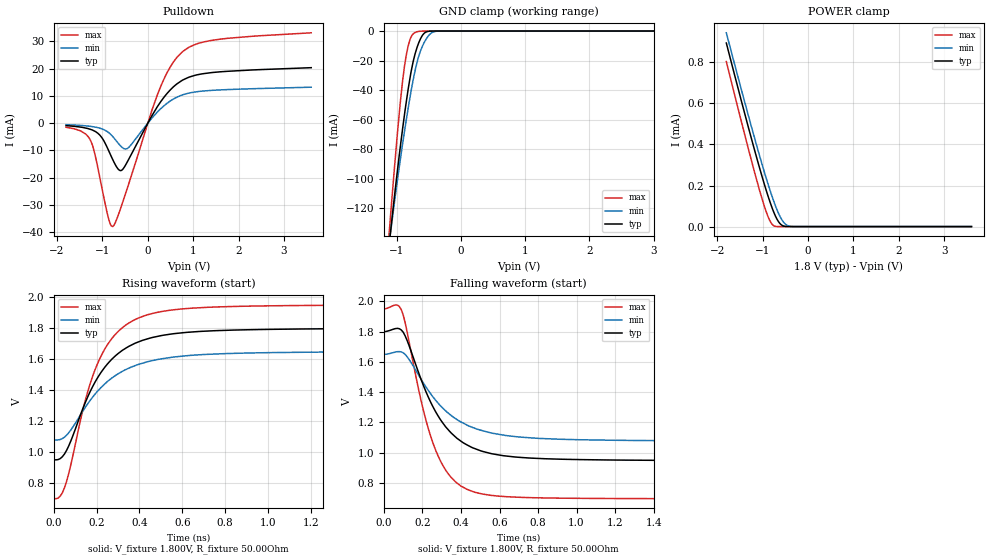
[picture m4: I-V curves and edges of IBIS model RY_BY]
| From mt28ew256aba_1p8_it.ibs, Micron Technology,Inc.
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|   Model RY_BY
[Model]   RY_BY
Model_type   Open_drain
Vmeas = 0.900V
Cref = 30.000pF
Rref = 2.500k
Vref = 1.800V
|   typ   min   max
C_comp   2.743pF   2.243pF   3.423pF
[Voltage Range]   1.800V   1.650V   1.950V
| Junction Temperature (Ambient temp is 35C typ, 85C min, -40C max)
[Temperature Range]   50.0   100.0   -40.0
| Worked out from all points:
|   slope of the pulldown table from 0 to 0.27 V, typ, clamps not added: 35.9 ohm
|   GND clamp passes 1 mA (typ) near -0.56 V on its own axis
|   falling waveform, V_fixture 1.800V, R_fixture 50.00Ohm: 20-80 % time 208ps typ, 250ps min, 157ps max; typ from 1.8 V to 0.947 V
|   rising waveform, V_fixture 1.800V, R_fixture 50.00Ohm: 20-80 % time 202ps typ, 239ps min, 169ps max; typ from 0.947 V to 1.8 V
[Pulldown]
|   Voltage   I(typ)   I(min)   I(max)
-1.8V     -935.2uA   -587.6uA   -1.529mA
-1.265V   -2.293mA   -1.192mA   -6.234mA
-1.163V   -3.023mA   -1.455mA   -11.55mA
-876.6mV  -9.587mA   -3.306mA   -34.22mA
-774mV    -13.32mA   -4.911mA   -37.94mA
-552.6mV  -16.96mA   -9.077mA   -28.99mA
-417.6mV  -13.17mA   -8.873mA   -22.15mA
219.6mV   6.236mA    4.188mA    10.75mA
500.4mV   12.26mA    8.155mA    20.74mA
738mV     15.46mA    10.19mA    25.74mA
1.418V    18.53mA    12mA       30.35mA
3.6V      20.31mA    13.16mA    33.09mA
[GND Clamp]
|   Voltage   I(typ)   I(min)   I(max)
-1.8V     -436.6mA   -404.7mA   -515mA
-1.12V    -144.9mA   -144.5mA   -137.2mA
-1.087V   -131.9mA   -133.1mA   -119.5mA
-946.8mV  -78.93mA   -87.63mA   -48.92mA
-882mV    -57.21mA   -68.49mA   -24.51mA
-806.4mV  -35.04mA   -47.93mA   -7.439mA
-720mV    -16.31mA   -27.84mA   -1.1mA
-666mV    -8.899mA   -18.13mA   -323.5uA
-574.2mV  -1.567mA   -7.866mA   -33.15uA
-487.8mV  -114.7uA   -2.321mA   -4.053uA
-390.6mV  -6.539uA   -208.3uA   -174.7nA
3.6V      0A         0A         0A
[POWER Clamp]
|   Voltage   I(typ)   I(min)   I(max)
-1.8V     893.9uA    943.6uA    803.7uA
-1.211V   399.5uA    457.9uA    292.1uA
-1.039V   263.2uA    322.8uA    154.3uA
-909mV    167.8uA    226.8uA    64.45uA
-806.4mV  100uA      155.9uA    15.46uA
-757.8mV  71.71uA    124.8uA    4.573uA
-682.2mV  35.4uA     81.04uA    303.6nA
-590.4mV  8.969uA    38.38uA    6.934nA
-493.2mV  860.3nA    11.03uA    654.2pA
-417.6mV  105.4nA    2.608uA    438pA
-282.6mV  1.908nA    76.82nA    409.7pA
3.6V      0A         0A         0A
[Ramp]
R_load = 50.00Ohm
|   typ   min   max
dV/dt_r   511.676mV/202.500ps 344.574mV/238.539ps 752.355mV/169.284ps
dV/dt_f   511.676mV/207.506ps 344.574mV/249.567ps 752.355mV/157.250ps
[Falling Waveform]
V_fixture = 1.800V
V_fixture_min = 1.650V
V_fixture_max = 1.950V
R_fixture = 50.00Ohm
|   Time   V(typ)   V(min)   V(max)
0s        1.8V       1.65V      1.95V
60ps      1.821V     1.665V     1.977V
90ps      1.811V     1.666V     1.945V
210ps     1.428V     1.45V      1.254V
250ps     1.314V     1.376V     1.08V
300ps     1.206V     1.302V     928.8mV
400ps     1.076V     1.203V     779.4mV
550ps     996.2mV    1.132V     719.2mV
1.47ns    949.4mV    1.079V     696.5mV
7.5ns     947.2mV    1.076V     696.1mV
[Rising Waveform]
V_fixture = 1.800V
V_fixture_min = 1.650V
V_fixture_max = 1.950V
R_fixture = 50.00Ohm
|   Time   V(typ)   V(min)   V(max)
0s        947.2mV    1.076V     696.1mV
30ps      954.9mV    1.079V     711.7mV
50ps      985.2mV    1.094V     766.7mV
160ps     1.36V      1.313V     1.396V
200ps     1.468V     1.384V     1.556V
250ps     1.567V     1.454V     1.691V
370ps     1.695V     1.552V     1.848V
550ps     1.762V     1.611V     1.917V
1.47ns    1.797V     1.646V     1.948V
7.5ns     1.8V       1.65V      1.95V
